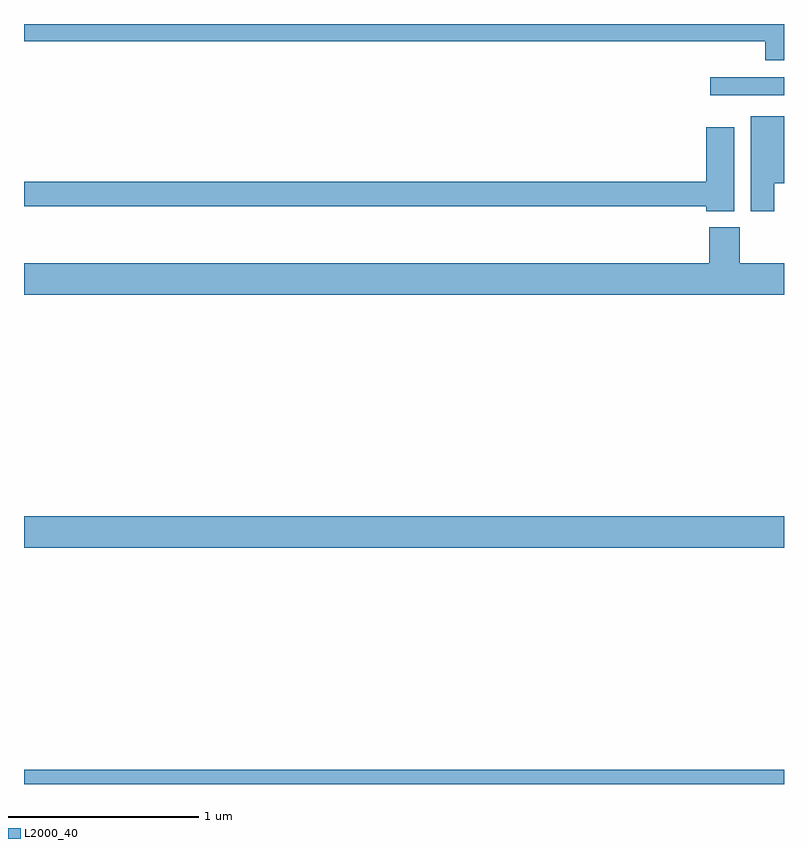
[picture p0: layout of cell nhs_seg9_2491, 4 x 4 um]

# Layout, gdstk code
import gdstk
lib = gdstk.Library(unit=1e-6, precision=1e-09)
def R(c, l, rs):  # rectangles x0, y0, x1, y1
    for r in rs: c.add(gdstk.rectangle(r[:2], r[2:], *l))
def P(c, l, *ps):  # polygons
    for p in ps: c.add(gdstk.Polygon(p, *l))
L2000_40 = (2000, 40)

nhs_seg9_2491 = lib.new_cell('nhs_seg9_2491')
R(nhs_seg9_2491, L2000_40, [(253,1204.5,257,1204.576), (253,1205.744,257,1205.908), (256.611,1208.124,257,1208.22)])
P(nhs_seg9_2491, L2000_40, [(257,1208.5),(253,1208.5),(253,1208.408),(256.901,1208.408),(256.901,1208.309),(257,1208.309)],
  [(256.948,1207.661),(257,1207.661),(257,1208.014),(256.826,1208.014),(256.826,1207.515),(256.948,1207.515)],
  [(256.738,1207.957),(256.592,1207.957),(256.592,1207.67),(253,1207.67),(253,1207.542),(256.592,1207.542),(256.592,1207.514),(256.738,1207.514)],
  [(257,1207.24),(256.767,1207.24),(256.767,1207.429),(256.607,1207.429),(256.607,1207.24),(253,1207.24),(253,1207.076),(257,1207.076)])

lib.write_gds('nhs_seg9_2491.gds')
